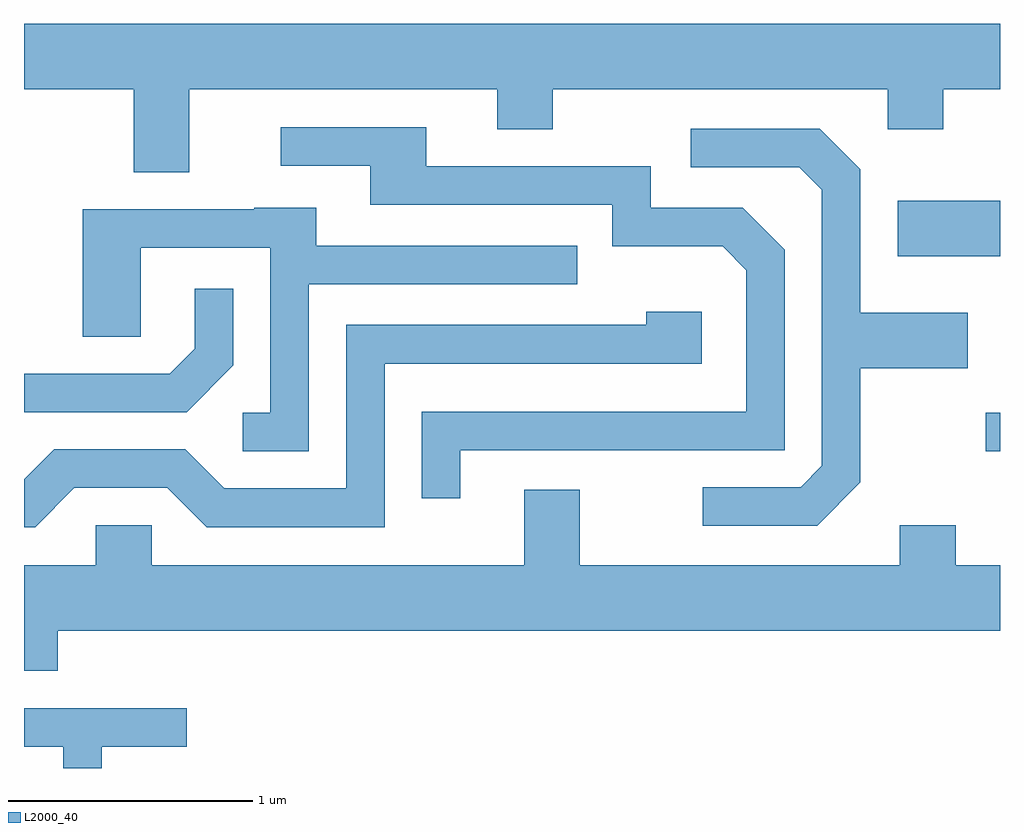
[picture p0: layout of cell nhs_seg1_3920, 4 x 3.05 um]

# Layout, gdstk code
import gdstk
lib = gdstk.Library(unit=1e-6, precision=1e-09)
def R(c, l, rs):  # rectangles x0, y0, x1, y1
    for r in rs: c.add(gdstk.rectangle(r[:2], r[2:], *l))
def P(c, l, *ps):  # polygons
    for p in ps: c.add(gdstk.Polygon(p, *l))
L2000_40 = (2000, 40)

nhs_seg1_3920 = lib.new_cell('nhs_seg1_3920')
R(nhs_seg1_3920, L2000_40, [(307.553,867.011,307.611,867.169), (307.191,867.811,307.611,868.039)])
P(nhs_seg1_3920, L2000_40, [(304.289,868.496),(305.551,868.496),(305.551,868.331),(305.779,868.331),(305.779,868.496),(307.151,868.496),(307.151,868.331),(307.379,868.331),(307.379,868.496),(307.611,868.496),(307.611,868.764),(303.611,868.764),(303.611,868.496),(304.061,868.496),(304.061,868.156),(304.289,868.156)],
  [(305.399,867.016),(306.729,867.016),(306.729,867.837),(306.557,868.009),(306.179,868.009),(306.179,868.179),(305.259,868.179),(305.259,868.339),(304.663,868.339),(304.663,868.181),(305.031,868.181),(305.031,868.021),(306.021,868.021),(306.021,867.851),(306.474,867.851),(306.571,867.754),(306.571,867.174),(305.241,867.174),(305.241,866.818),(305.399,866.818)],
  [(307.039,866.884),(307.039,867.351),(307.479,867.351),(307.479,867.579),(307.039,867.579),(307.039,868.167),(306.872,868.334),(306.343,868.334),(306.343,868.176),(306.789,868.176),(306.881,868.084),(306.881,866.952),(306.794,866.864),(306.393,866.864),(306.393,866.706),(306.862,866.706)],
  [(304.779,867.696),(305.878,867.696),(305.878,867.854),(304.809,867.854),(304.809,868.009),(304.555,868.009),(304.555,868.004),(303.851,868.004),(303.851,867.481),(304.089,867.481),(304.089,867.846),(304.621,867.846),(304.621,867.169),(304.508,867.169),(304.508,867.011),(304.779,867.011)],
  [(304.469,867.364),(304.469,867.678),(304.311,867.678),(304.311,867.432),(304.209,867.329),(303.611,867.329),(303.611,867.171),(304.277,867.171)],
  [(303.817,866.861),(304.199,866.861),(304.359,866.701),(305.089,866.701),(305.089,867.371),(306.389,867.371),(306.389,867.584),(306.161,867.584),(306.161,867.529),(304.931,867.529),(304.931,866.859),(304.432,866.859),(304.272,867.019),(303.734,867.019),(303.611,866.896),(303.611,866.701),(303.657,866.701)],
  [(303.749,866.276),(307.611,866.276),(307.611,866.544),(307.429,866.544),(307.429,866.709),(307.201,866.709),(307.201,866.544),(305.889,866.544),(305.889,866.854),(305.661,866.854),(305.661,866.544),(304.134,866.544),(304.134,866.709),(303.906,866.709),(303.906,866.544),(303.611,866.544),(303.611,866.111),(303.749,866.111)],
  [(303.929,865.801),(304.278,865.801),(304.278,865.959),(303.611,865.959),(303.611,865.801),(303.771,865.801),(303.771,865.712),(303.929,865.712)])

lib.write_gds('nhs_seg1_3920.gds')
